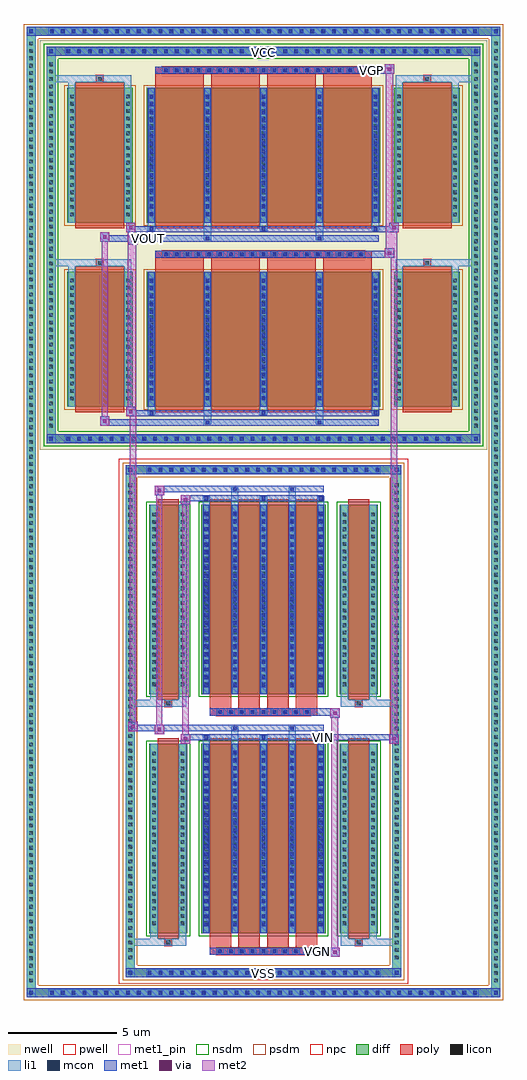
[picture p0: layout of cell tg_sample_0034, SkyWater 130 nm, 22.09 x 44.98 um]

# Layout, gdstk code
import gdstk
lib = gdstk.Library(unit=1e-6, precision=5e-09)
def R(c, l, rs):  # rectangles x0, y0, x1, y1
    for r in rs: c.add(gdstk.rectangle(r[:2], r[2:], *l))
def A(c, l, x, y, w, h, nx, ny, dx, dy):  # array of equal rectangles
    R(c, l, [(x+i*dx, y+j*dy, x+i*dx+w, y+j*dy+h) for i in range(nx) for j in range(ny)])
def P(c, l, *ps):  # polygons
    for p in ps: c.add(gdstk.Polygon(p, *l))
nwell = (64, 20)
pwell = (64, 44)
diff = (65, 20)
poly = (66, 20)
licon = (66, 44)
li1 = (67, 20)
mcon = (67, 44)
met1_pin = (68, 16)
met1 = (68, 20)
via = (68, 44)
met2 = (69, 20)
nsdm = (93, 44)
psdm = (94, 20)
npc = (95, 20)

tg_sample_0034 = lib.new_cell('tg_sample_0034')
R(tg_sample_0034, nwell, [(-10.305,12.505,10.305,31.395)])
R(tg_sample_0034, pwell, [(-6.66,-12.105,6.66,12.105)])
A(tg_sample_0034, diff, -9.955, -12.715, 0.41, 0.41, 40, 2, 0.5, 44.31)
A(tg_sample_0034, diff, -10.915, -12.15, 0.41, 0.41, 1, 128, 0, 0.34)
A(tg_sample_0034, diff, 10.505, -12.15, 0.41, 0.41, 1, 128, 0, 0.34)
A(tg_sample_0034, diff, -5.455, -11.795, 0.41, 0.41, 22, 2, 0.5, 23.18)
A(tg_sample_0034, diff, -6.35, -11.085, 0.41, 0.41, 1, 65, 0, 0.34)
A(tg_sample_0034, diff, 5.94, -11.085, 0.41, 0.41, 1, 65, 0, 0.34)
A(tg_sample_0034, diff, -9.205, 12.815, 0.41, 0.41, 37, 2, 0.5, 17.86)
A(tg_sample_0034, diff, -9.995, 13.415, 0.41, 0.41, 1, 50, 0, 0.34)
A(tg_sample_0034, diff, 9.585, 13.415, 0.41, 0.41, 1, 50, 0, 0.34)
R(tg_sample_0034, diff, [(-9.955,-12.715,9.955,-12.305), (-10.915,-12.15,-10.505,31.44), (10.505,-12.15,10.915,31.44), (-5.455,-11.795,5.455,-11.385), (-6.35,-11.085,-5.94,11.085), (5.94,-11.085,6.35,11.085), (-5.275,-9.77,-3.505,-1.03), (-2.865,-9.77,2.865,-1.03), (3.505,-9.77,5.275,-1.03), (-5.275,1.25,-3.505,9.99), (-2.865,1.25,2.865,9.99), (3.505,1.25,5.275,9.99), (-5.455,11.385,5.455,11.795), (-9.205,12.815,9.205,13.225), (-9.995,13.415,-9.585,30.485), (9.585,13.415,9.995,30.485), (-9.055,14.49,-6.025,20.71), (-5.385,14.49,5.385,20.71), (6.025,14.49,9.055,20.71), (-9.055,22.97,-6.025,29.19), (-5.385,22.97,5.385,29.19), (6.025,22.97,9.055,29.19), (-9.205,30.675,9.205,31.085), (-9.955,31.595,9.955,32.005)])
P(tg_sample_0034, diff, [(6.35,11.795),(-6.35,11.795),(-6.35,-11.385),(-5.94,-11.385),(-5.94,11.385),(5.94,11.385),(5.94,-11.385),(-5.94,-11.385),(-6.35,-11.385),(-6.35,-11.795),(6.35,-11.795)],
  [(10.915,32.005),(-10.915,32.005),(-10.915,-12.305),(-10.505,-12.305),(-10.505,31.595),(10.505,31.595),(10.505,-12.305),(-10.505,-12.305),(-10.915,-12.305),(-10.915,-12.715),(10.915,-12.715)],
  [(9.995,12.815),(-9.995,12.815),(-9.995,30.675),(-9.585,30.675),(-9.585,13.225),(9.585,13.225),(9.585,30.675),(-9.585,30.675),(-9.995,30.675),(-9.995,31.085),(9.995,31.085)])
A(tg_sample_0034, poly, -2.165, -10.76, 0.33, 0.33, 9, 2, 0.5, 11.02)
A(tg_sample_0034, poly, -2.475, -10.43, 0.99, 0.41, 4, 2, 1.32, 11.02)
A(tg_sample_0034, poly, -2.475, -10.02, 0.99, 9.24, 4, 2, 1.32, 11.02)
A(tg_sample_0034, poly, -4.995, 14.24, 2.25, 6.72, 4, 2, 2.58, 8.48)
A(tg_sample_0034, poly, -4.995, 20.96, 2.25, 0.4, 4, 2, 2.58, 8.48)
A(tg_sample_0034, poly, -4.665, 21.36, 0.33, 0.33, 19, 2, 0.5, 8.48)
R(tg_sample_0034, poly, [(-2.475,-10.76,2.475,-10.43), (-4.555,-10.35,-4.225,-10.02), (-4.555,-10.35,-4.225,-10.02), (4.225,-10.35,4.555,-10.02), (4.225,-10.35,4.555,-10.02), (-4.885,-10.02,-3.895,-0.78), (3.895,-10.02,4.885,-0.78), (-2.475,0.26,2.475,0.59), (-4.555,0.67,-4.225,1), (-4.555,0.67,-4.225,1), (4.225,0.67,4.555,1), (4.225,0.67,4.555,1), (-4.885,1,-3.895,10.24), (3.895,1,4.885,10.24), (-8.665,14.24,-6.415,20.96), (6.415,14.24,8.665,20.96), (-7.705,20.96,-7.375,21.29), (-7.705,20.96,-7.375,21.29), (7.375,20.96,7.705,21.29), (7.375,20.96,7.705,21.29), (-4.995,21.36,4.995,21.69), (-8.665,22.72,-6.415,29.44), (6.415,22.72,8.665,29.44), (-7.705,29.44,-7.375,29.77), (-7.705,29.44,-7.375,29.77), (7.375,29.44,7.705,29.77), (7.375,29.44,7.705,29.77), (-4.995,29.84,4.995,30.17)])
A(tg_sample_0034, licon, -9.835, -12.595, 0.17, 0.17, 40, 2, 0.5, 44.31)
A(tg_sample_0034, licon, -10.795, -12.03, 0.17, 0.17, 1, 128, 0, 0.34)
A(tg_sample_0034, licon, 10.625, -12.03, 0.17, 0.17, 1, 128, 0, 0.34)
A(tg_sample_0034, licon, -5.335, -11.675, 0.17, 0.17, 22, 2, 0.5, 23.18)
A(tg_sample_0034, licon, -6.23, -10.965, 0.17, 0.17, 1, 65, 0, 0.34)
A(tg_sample_0034, licon, 6.06, -10.965, 0.17, 0.17, 1, 65, 0, 0.34)
A(tg_sample_0034, licon, -2.085, -10.68, 0.17, 0.17, 9, 2, 0.5, 11.02)
A(tg_sample_0034, licon, -5.135, -9.395, 0.17, 0.17, 1, 24, 0, 0.34)
A(tg_sample_0034, licon, -3.815, -9.395, 0.17, 0.17, 1, 24, 0, 0.34)
A(tg_sample_0034, licon, -2.725, -9.395, 0.17, 0.17, 5, 24, 1.32, 0.34)
A(tg_sample_0034, licon, 3.645, -9.395, 0.17, 0.17, 1, 24, 0, 0.34)
A(tg_sample_0034, licon, 4.965, -9.395, 0.17, 0.17, 1, 24, 0, 0.34)
A(tg_sample_0034, licon, -5.135, 1.625, 0.17, 0.17, 1, 24, 0, 0.34)
A(tg_sample_0034, licon, -3.815, 1.625, 0.17, 0.17, 1, 24, 0, 0.34)
A(tg_sample_0034, licon, -2.725, 1.625, 0.17, 0.17, 5, 24, 1.32, 0.34)
A(tg_sample_0034, licon, 3.645, 1.625, 0.17, 0.17, 1, 24, 0, 0.34)
A(tg_sample_0034, licon, 4.965, 1.625, 0.17, 0.17, 1, 24, 0, 0.34)
A(tg_sample_0034, licon, -9.085, 12.935, 0.17, 0.17, 37, 2, 0.5, 17.86)
A(tg_sample_0034, licon, -9.875, 13.535, 0.17, 0.17, 1, 50, 0, 0.34)
A(tg_sample_0034, licon, 9.705, 13.535, 0.17, 0.17, 1, 50, 0, 0.34)
A(tg_sample_0034, licon, -8.915, 14.795, 0.17, 0.17, 1, 17, 0, 0.34)
A(tg_sample_0034, licon, -6.335, 14.795, 0.17, 0.17, 1, 17, 0, 0.34)
A(tg_sample_0034, licon, -5.245, 14.795, 0.17, 0.17, 5, 17, 2.58, 0.34)
A(tg_sample_0034, licon, 6.165, 14.795, 0.17, 0.17, 1, 17, 0, 0.34)
A(tg_sample_0034, licon, 8.745, 14.795, 0.17, 0.17, 1, 17, 0, 0.34)
A(tg_sample_0034, licon, -4.585, 21.44, 0.17, 0.17, 19, 2, 0.5, 8.48)
A(tg_sample_0034, licon, -8.915, 23.275, 0.17, 0.17, 1, 17, 0, 0.34)
A(tg_sample_0034, licon, -6.335, 23.275, 0.17, 0.17, 1, 17, 0, 0.34)
A(tg_sample_0034, licon, -5.245, 23.275, 0.17, 0.17, 5, 17, 2.58, 0.34)
A(tg_sample_0034, licon, 6.165, 23.275, 0.17, 0.17, 1, 17, 0, 0.34)
A(tg_sample_0034, licon, 8.745, 23.275, 0.17, 0.17, 1, 17, 0, 0.34)
R(tg_sample_0034, licon, [(-4.475,-10.27,-4.305,-10.1), (4.305,-10.27,4.475,-10.1), (-4.475,0.75,-4.305,0.92), (4.305,0.75,4.475,0.92), (-7.625,21.04,-7.455,21.21), (7.455,21.04,7.625,21.21), (-7.625,29.52,-7.455,29.69), (7.455,29.52,7.625,29.69)])
A(tg_sample_0034, li1, -9.915, -12.675, 0.33, 0.33, 40, 2, 0.5, 44.31)
A(tg_sample_0034, li1, -10.875, -12.11, 0.33, 0.33, 1, 128, 0, 0.34)
A(tg_sample_0034, li1, 10.545, -12.11, 0.33, 0.33, 1, 128, 0, 0.34)
A(tg_sample_0034, li1, -5.415, -11.755, 0.33, 0.33, 22, 2, 0.5, 23.18)
A(tg_sample_0034, li1, -6.31, -11.045, 0.33, 0.33, 1, 65, 0, 0.34)
A(tg_sample_0034, li1, 5.98, -11.045, 0.33, 0.33, 1, 65, 0, 0.34)
A(tg_sample_0034, li1, -2.165, -10.76, 0.33, 0.33, 9, 2, 0.5, 11.02)
A(tg_sample_0034, li1, -2.805, -9.77, 0.33, 8.74, 5, 2, 1.32, 11.02)
A(tg_sample_0034, li1, -5.215, -9.475, 0.33, 0.33, 1, 24, 0, 0.34)
A(tg_sample_0034, li1, -3.895, -9.475, 0.33, 0.33, 1, 24, 0, 0.34)
A(tg_sample_0034, li1, -2.805, -9.475, 0.33, 0.33, 5, 24, 1.32, 0.34)
A(tg_sample_0034, li1, 3.565, -9.475, 0.33, 0.33, 1, 24, 0, 0.34)
A(tg_sample_0034, li1, 4.885, -9.475, 0.33, 0.33, 1, 24, 0, 0.34)
A(tg_sample_0034, li1, -2.725, -9.445, 0.17, 0.17, 5, 23, 1.32, 0.36)
A(tg_sample_0034, li1, -2.725, -9.445, 0.17, 8.09, 5, 2, 1.32, 11.02)
A(tg_sample_0034, li1, -2.805, -1.03, 0.33, 0.375, 3, 2, 2.64, 11.02)
A(tg_sample_0034, li1, -2.725, -0.825, 0.17, 0.17, 3, 2, 2.64, 11.02)
A(tg_sample_0034, li1, -5.215, 1.545, 0.33, 0.33, 1, 24, 0, 0.34)
A(tg_sample_0034, li1, -3.895, 1.545, 0.33, 0.33, 1, 24, 0, 0.34)
A(tg_sample_0034, li1, -2.805, 1.545, 0.33, 0.33, 5, 24, 1.32, 0.34)
A(tg_sample_0034, li1, 3.565, 1.545, 0.33, 0.33, 1, 24, 0, 0.34)
A(tg_sample_0034, li1, 4.885, 1.545, 0.33, 0.33, 1, 24, 0, 0.34)
A(tg_sample_0034, li1, -2.725, 1.575, 0.17, 0.17, 5, 23, 1.32, 0.36)
A(tg_sample_0034, li1, -9.165, 12.855, 0.33, 0.33, 37, 2, 0.5, 17.86)
A(tg_sample_0034, li1, -9.955, 13.455, 0.33, 0.33, 1, 50, 0, 0.34)
A(tg_sample_0034, li1, 9.625, 13.455, 0.33, 0.33, 1, 50, 0, 0.34)
A(tg_sample_0034, li1, -5.325, 14.115, 0.33, 0.375, 3, 2, 5.16, 8.48)
A(tg_sample_0034, li1, -5.245, 14.115, 0.17, 0.17, 3, 2, 5.16, 8.48)
A(tg_sample_0034, li1, -5.325, 14.49, 0.33, 6.22, 5, 2, 2.58, 8.48)
A(tg_sample_0034, li1, -8.995, 14.715, 0.33, 0.33, 1, 17, 0, 0.34)
A(tg_sample_0034, li1, -6.415, 14.715, 0.33, 0.33, 1, 17, 0, 0.34)
A(tg_sample_0034, li1, -5.325, 14.715, 0.33, 0.33, 5, 17, 2.58, 0.34)
A(tg_sample_0034, li1, 6.085, 14.715, 0.33, 0.33, 1, 17, 0, 0.34)
A(tg_sample_0034, li1, 8.665, 14.715, 0.33, 0.33, 1, 17, 0, 0.34)
A(tg_sample_0034, li1, -5.245, 14.815, 0.17, 0.17, 5, 16, 2.58, 0.36)
A(tg_sample_0034, li1, -5.245, 14.815, 0.17, 5.57, 5, 2, 2.58, 8.48)
A(tg_sample_0034, li1, -4.665, 21.36, 0.33, 0.33, 19, 2, 0.5, 8.48)
A(tg_sample_0034, li1, -8.995, 23.195, 0.33, 0.33, 1, 17, 0, 0.34)
A(tg_sample_0034, li1, -6.415, 23.195, 0.33, 0.33, 1, 17, 0, 0.34)
A(tg_sample_0034, li1, -5.325, 23.195, 0.33, 0.33, 5, 17, 2.58, 0.34)
A(tg_sample_0034, li1, 6.085, 23.195, 0.33, 0.33, 1, 17, 0, 0.34)
A(tg_sample_0034, li1, 8.665, 23.195, 0.33, 0.33, 1, 17, 0, 0.34)
A(tg_sample_0034, li1, -5.245, 23.295, 0.17, 0.17, 5, 16, 2.58, 0.36)
R(tg_sample_0034, li1, [(-10.915,-12.715,-10.505,-12.305), (10.505,-12.715,10.915,-12.305), (-9.915,-12.675,9.915,-12.345), (-10.795,-12.595,-10.625,-12.425), (-10.795,-12.595,-10.625,-12.425), (10.625,-12.595,10.795,-12.425), (10.625,-12.595,10.795,-12.425), (-10.915,-12.305,-10.505,31.595), (10.505,-12.305,10.915,31.595), (-6.35,-11.795,-5.94,-11.385), (5.94,-11.795,6.35,-11.385), (-5.415,-11.755,5.415,-11.425), (-6.23,-11.675,-6.06,-11.505), (-6.23,-11.675,-6.06,-11.505), (6.06,-11.675,6.23,-11.505), (6.06,-11.675,6.23,-11.505), (-6.35,-11.385,-5.94,11.385), (5.94,-11.385,6.35,11.385), (-6.35,-10.35,-4.555,-10.02), (-5.215,-10.35,-4.555,-10.02), (-5.215,-10.35,-4.885,-9.77), (-4.555,-10.35,-4.225,-10.02), (-4.225,-10.35,-3.565,-10.02), (-3.895,-10.35,-3.565,-9.77), (3.565,-10.35,4.225,-10.02), (3.565,-10.35,3.895,-9.77), (4.225,-10.35,4.555,-10.02), (4.225,-10.35,6.35,-10.02), (4.555,-10.35,5.215,-10.02), (4.885,-10.35,5.215,-9.77), (-5.215,-9.77,-4.885,-1.03), (-3.895,-9.77,-3.565,-1.03), (3.565,-9.77,3.895,-1.03), (4.885,-9.77,5.215,-1.03), (-1.485,-1.03,-1.155,-0.225), (1.155,-1.03,1.485,-0.225), (-1.405,-0.395,-1.235,-0.225), (1.235,-0.395,1.405,-0.225), (-6.35,0.67,-4.555,1), (-5.215,0.67,-4.555,1), (-5.215,0.67,-4.885,1.25), (-4.555,0.67,-4.225,1), (-4.225,0.67,-3.565,1), (-3.895,0.67,-3.565,1.25), (3.565,0.67,4.225,1), (3.565,0.67,3.895,1.25), (4.225,0.67,4.555,1), (4.225,0.67,6.35,1), (4.555,0.67,5.215,1), (4.885,0.67,5.215,1.25), (-5.215,1.25,-4.885,9.99), (-3.895,1.25,-3.565,9.99), (3.565,1.25,3.895,9.99), (4.885,1.25,5.215,9.99), (-1.485,9.99,-1.155,10.795), (1.155,9.99,1.485,10.795), (-1.405,10.625,-1.235,10.795), (1.235,10.625,1.405,10.795), (-6.35,11.385,-5.94,11.795), (5.94,11.385,6.35,11.795), (-5.415,11.425,5.415,11.755), (-6.23,11.505,-6.06,11.675), (-6.23,11.505,-6.06,11.675), (6.06,11.505,6.23,11.675), (6.06,11.505,6.23,11.675), (-9.995,12.815,-9.585,13.225), (9.585,12.815,9.995,13.225), (-9.165,12.855,9.165,13.185), (-9.875,12.935,-9.705,13.105), (-9.875,12.935,-9.705,13.105), (9.705,12.935,9.875,13.105), (9.705,12.935,9.875,13.105), (-9.995,13.225,-9.585,30.675), (9.585,13.225,9.995,30.675), (-2.745,13.685,-2.415,14.49), (-2.665,13.685,-2.495,13.855), (2.415,13.685,2.745,14.49), (2.495,13.685,2.665,13.855), (-8.995,14.49,-8.665,20.71), (-6.415,14.49,-6.085,20.71), (6.085,14.49,6.415,20.71), (8.665,14.49,8.995,20.71), (-8.995,20.71,-8.665,21.29), (-6.415,20.71,-6.085,21.29), (6.085,20.71,6.415,21.29), (8.665,20.71,8.995,21.29), (-9.995,20.96,-7.705,21.29), (-8.995,20.96,-7.705,21.29), (-7.705,20.96,-7.375,21.29), (-7.375,20.96,-6.085,21.29), (6.085,20.96,7.375,21.29), (7.375,20.96,7.705,21.29), (7.375,20.96,9.995,21.29), (7.705,20.96,8.995,21.29), (-2.745,22.165,-2.415,22.97), (-2.665,22.165,-2.495,22.335), (2.415,22.165,2.745,22.97), (2.495,22.165,2.665,22.335), (-8.995,22.97,-8.665,29.19), (-6.415,22.97,-6.085,29.19), (6.085,22.97,6.415,29.19), (8.665,22.97,8.995,29.19), (-8.995,29.19,-8.665,29.77), (-6.415,29.19,-6.085,29.77), (6.085,29.19,6.415,29.77), (8.665,29.19,8.995,29.77), (-9.995,29.44,-7.705,29.77), (-8.995,29.44,-7.705,29.77), (-7.705,29.44,-7.375,29.77), (-7.375,29.44,-6.085,29.77), (6.085,29.44,7.375,29.77), (7.375,29.44,7.705,29.77), (7.375,29.44,9.995,29.77), (7.705,29.44,8.995,29.77), (-9.995,30.675,-9.585,31.085), (9.585,30.675,9.995,31.085), (-9.165,30.715,9.165,31.045), (-9.875,30.795,-9.705,30.965), (-9.875,30.795,-9.705,30.965), (9.705,30.795,9.875,30.965), (9.705,30.795,9.875,30.965), (-10.915,31.595,-10.505,32.005), (10.505,31.595,10.915,32.005), (-9.915,31.635,9.915,31.965), (-10.795,31.715,-10.625,31.885), (-10.795,31.715,-10.625,31.885), (10.625,31.715,10.795,31.885), (10.625,31.715,10.795,31.885)])
A(tg_sample_0034, mcon, -9.835, -12.595, 0.17, 0.17, 40, 2, 0.5, 44.31)
A(tg_sample_0034, mcon, -5.335, -11.675, 0.17, 0.17, 22, 2, 0.5, 23.18)
A(tg_sample_0034, mcon, -2.085, -10.68, 0.17, 0.17, 9, 2, 0.5, 11.02)
A(tg_sample_0034, mcon, -2.725, -9.445, 0.17, 0.17, 5, 23, 1.32, 0.36)
A(tg_sample_0034, mcon, -2.725, -0.825, 0.17, 0.17, 3, 2, 2.64, 11.02)
A(tg_sample_0034, mcon, -2.725, 1.575, 0.17, 0.17, 5, 23, 1.32, 0.36)
A(tg_sample_0034, mcon, -9.085, 12.935, 0.17, 0.17, 37, 2, 0.5, 17.86)
A(tg_sample_0034, mcon, -5.245, 14.115, 0.17, 0.17, 3, 2, 5.16, 8.48)
A(tg_sample_0034, mcon, -5.245, 14.815, 0.17, 0.17, 5, 16, 2.58, 0.36)
A(tg_sample_0034, mcon, -4.585, 21.44, 0.17, 0.17, 19, 2, 0.5, 8.48)
A(tg_sample_0034, mcon, -5.245, 23.295, 0.17, 0.17, 5, 16, 2.58, 0.36)
R(tg_sample_0034, mcon, [(-10.795,-12.595,-10.625,-12.425), (10.625,-12.595,10.795,-12.425), (-6.23,-11.675,-6.06,-11.505), (6.06,-11.675,6.23,-11.505), (-1.405,-0.395,-1.235,-0.225), (1.235,-0.395,1.405,-0.225), (-1.405,10.625,-1.235,10.795), (1.235,10.625,1.405,10.795), (-6.23,11.505,-6.06,11.675), (6.06,11.505,6.23,11.675), (-9.875,12.935,-9.705,13.105), (9.705,12.935,9.875,13.105), (-2.665,13.685,-2.495,13.855), (2.495,13.685,2.665,13.855), (-2.665,22.165,-2.495,22.335), (2.495,22.165,2.665,22.335), (-9.875,30.795,-9.705,30.965), (9.705,30.795,9.875,30.965), (-10.795,31.715,-10.625,31.885), (10.625,31.715,10.795,31.885)])
R(tg_sample_0034, met1_pin, [(-0.25,-11.885,0.25,-11.385), (2.34,-10.76,2.61,-10.49), (2.65,-0.885,2.92,-0.615), (-5.44,22.105,-5.17,22.375), (4.86,29.84,5.13,30.11), (-0.25,30.585,0.25,31.085)])
A(tg_sample_0034, met1, -9.895, -12.655, 0.29, 0.29, 40, 2, 0.5, 44.31)
A(tg_sample_0034, met1, -5.395, -11.735, 0.29, 0.29, 22, 2, 0.5, 23.18)
A(tg_sample_0034, met1, -2.145, -10.74, 0.29, 0.29, 9, 2, 0.5, 11.02)
A(tg_sample_0034, met1, -2.785, -9.77, 0.29, 8.74, 5, 2, 1.32, 11.02)
A(tg_sample_0034, met1, -2.785, -9.505, 0.29, 0.29, 5, 23, 1.32, 0.36)
A(tg_sample_0034, met1, -2.785, -0.885, 0.29, 0.29, 3, 2, 2.64, 11.02)
A(tg_sample_0034, met1, -2.785, 1.515, 0.29, 0.29, 5, 23, 1.32, 0.36)
A(tg_sample_0034, met1, -9.145, 12.875, 0.29, 0.29, 37, 2, 0.5, 17.86)
A(tg_sample_0034, met1, -5.305, 14.055, 0.29, 0.29, 3, 2, 5.16, 8.48)
A(tg_sample_0034, met1, -5.305, 14.49, 0.29, 6.22, 5, 2, 2.58, 8.48)
A(tg_sample_0034, met1, -5.305, 14.755, 0.29, 0.29, 5, 16, 2.58, 0.36)
A(tg_sample_0034, met1, -4.645, 21.38, 0.29, 0.29, 19, 2, 0.5, 8.48)
A(tg_sample_0034, met1, -5.305, 23.235, 0.29, 0.29, 5, 16, 2.58, 0.36)
R(tg_sample_0034, met1, [(-10.915,-12.715,-10.505,-12.305), (-10.915,-12.715,-10.505,-12.305), (-10.505,-12.715,10.505,-12.305), (10.505,-12.715,10.915,-12.305), (10.505,-12.715,10.915,-12.305), (-10.855,-12.655,-10.565,-12.365), (10.565,-12.655,10.855,-12.365), (-6.35,-11.795,-5.94,-11.385), (-6.35,-11.795,-5.94,-11.385), (-5.94,-11.795,5.94,-11.385), (5.94,-11.795,6.35,-11.385), (5.94,-11.795,6.35,-11.385), (-6.29,-11.735,-6,-11.445), (6,-11.735,6.29,-11.445), (3.075,-10.86,3.505,-10.43), (-2.475,-10.76,2.475,-10.43), (2.475,-10.76,3.505,-10.43), (-3.815,-1.025,-3.385,-0.595), (5.805,-1.025,6.235,-0.595), (-3.815,-0.885,-2.785,-0.595), (-2.785,-0.885,2.785,-0.595), (2.785,-0.885,6.235,-0.595), (-5.015,-0.595,-4.585,-0.165), (-6.235,-0.455,-5.805,-0.025), (-6.235,-0.455,-2.785,-0.165), (-5.015,-0.455,-2.785,-0.165), (-2.785,-0.455,2.785,-0.165), (-1.465,-0.455,-1.175,-0.165), (1.175,-0.455,1.465,-0.165), (3.075,0.16,3.505,0.59), (-2.475,0.26,2.475,0.59), (2.475,0.26,3.505,0.59), (-3.815,9.995,-3.385,10.425), (-3.815,10.135,-2.785,10.425), (-2.785,10.135,2.785,10.425), (-5.015,10.425,-4.585,10.855), (-5.015,10.565,-2.785,10.855), (-2.785,10.565,2.785,10.855), (-1.465,10.565,-1.175,10.855), (1.175,10.565,1.465,10.855), (-6.35,11.385,-5.94,11.795), (-6.35,11.385,-5.94,11.795), (-5.94,11.385,5.94,11.795), (5.94,11.385,6.35,11.795), (5.94,11.385,6.35,11.795), (-6.29,11.445,-6,11.735), (6,11.445,6.29,11.735), (-9.995,12.815,-9.585,13.225), (-9.995,12.815,-9.585,13.225), (-9.585,12.815,9.585,13.225), (9.585,12.815,9.995,13.225), (9.585,12.815,9.995,13.225), (-9.935,12.875,-9.645,13.165), (9.645,12.875,9.935,13.165), (-7.535,13.625,-7.105,14.055), (-7.535,13.625,-5.305,13.915), (-5.305,13.625,5.305,13.915), (-2.725,13.625,-2.435,13.915), (2.435,13.625,2.725,13.915), (-6.335,14.055,-5.905,14.485), (-6.335,14.055,-5.305,14.345), (-5.305,14.055,5.305,14.345), (-4.995,21.36,4.995,21.69), (4.995,21.36,6.025,21.69), (5.595,21.36,6.025,21.79), (-6.235,21.965,-5.805,22.395), (-7.535,22.105,-7.105,22.535), (-7.535,22.105,-5.305,22.395), (-6.235,22.105,-5.305,22.395), (-5.305,22.105,5.305,22.395), (-2.725,22.105,-2.435,22.395), (2.435,22.105,2.725,22.395), (-6.335,22.535,-5.905,22.965), (-6.335,22.535,-5.305,22.825), (-5.305,22.535,5.305,22.825), (5.305,22.535,6.235,22.825), (5.805,22.535,6.235,22.965), (-4.995,29.84,4.995,30.17), (4.995,29.84,6.025,30.17), (5.595,29.84,6.025,30.27), (-9.995,30.675,-9.585,31.085), (-9.995,30.675,-9.585,31.085), (-9.585,30.675,9.585,31.085), (9.585,30.675,9.995,31.085), (9.585,30.675,9.995,31.085), (-9.935,30.735,-9.645,31.025), (9.645,30.735,9.935,31.025), (-10.915,31.595,-10.505,32.005), (-10.915,31.595,-10.505,32.005), (-10.505,31.595,10.505,32.005), (10.505,31.595,10.915,32.005), (10.505,31.595,10.915,32.005), (-10.855,31.655,-10.565,31.945), (10.565,31.655,10.855,31.945)])
R(tg_sample_0034, via, [(3.215,-10.72,3.365,-10.57), (-3.675,-0.885,-3.525,-0.735), (5.945,-0.885,6.095,-0.735), (-4.875,-0.455,-4.725,-0.305), (-6.095,-0.315,-5.945,-0.165), (3.215,0.3,3.365,0.45), (-3.675,10.135,-3.525,10.285), (-4.875,10.565,-4.725,10.715), (-7.395,13.765,-7.245,13.915), (-6.195,14.195,-6.045,14.345), (5.735,21.5,5.885,21.65), (-6.095,22.105,-5.945,22.255), (-7.395,22.245,-7.245,22.395), (-6.195,22.675,-6.045,22.825), (5.945,22.675,6.095,22.825), (5.735,29.98,5.885,30.13)])
R(tg_sample_0034, met2, [(3.075,-10.86,3.505,-10.43), (3.125,-10.86,3.455,0.59), (3.455,-10.86,3.505,-10.43), (3.125,-10.81,3.455,-10.48), (-3.815,-1.025,-3.385,-0.595), (-3.745,-1.025,-3.455,10.425), (-3.455,-1.025,-3.385,-0.595), (5.805,-1.025,6.235,-0.595), (5.875,-1.025,6.165,22.965), (6.165,-1.025,6.235,-0.595), (-3.765,-0.975,-3.435,-0.645), (5.855,-0.975,6.185,-0.645), (-5.015,-0.595,-4.585,-0.165), (-4.945,-0.595,-4.655,10.855), (-4.655,-0.595,-4.585,-0.165), (-4.965,-0.545,-4.635,-0.215), (-6.235,-0.455,-5.805,-0.025), (-6.165,-0.455,-5.875,22.395), (-5.875,-0.455,-5.805,-0.025), (-6.185,-0.405,-5.855,-0.075), (3.075,0.16,3.505,0.59), (3.455,0.16,3.505,0.59), (3.125,0.21,3.455,0.54), (-3.815,9.995,-3.385,10.425), (-3.455,9.995,-3.385,10.425), (-3.765,10.045,-3.435,10.375), (-5.015,10.425,-4.585,10.855), (-4.655,10.425,-4.585,10.855), (-4.965,10.475,-4.635,10.805), (-7.535,13.625,-7.105,14.055), (-7.465,13.625,-7.175,22.535), (-7.175,13.625,-7.105,14.055), (-7.485,13.675,-7.155,14.005), (-6.335,14.055,-5.905,14.485), (-6.265,14.055,-5.975,22.965), (-5.975,14.055,-5.905,14.485), (-6.285,14.105,-5.955,14.435), (5.595,21.36,6.025,21.79), (5.645,21.36,5.975,30.27), (5.975,21.36,6.025,21.79), (5.645,21.41,5.975,21.74), (-6.235,21.965,-5.805,22.395), (-5.875,21.965,-5.805,22.395), (-6.185,22.015,-5.855,22.345), (-7.535,22.105,-7.105,22.535), (-7.175,22.105,-7.105,22.535), (-7.485,22.155,-7.155,22.485), (-6.335,22.535,-5.905,22.965), (-5.975,22.535,-5.905,22.965), (5.805,22.535,6.235,22.965), (6.165,22.535,6.235,22.965), (-6.285,22.585,-5.955,22.915), (5.855,22.585,6.185,22.915), (5.595,29.84,6.025,30.27), (5.975,29.84,6.025,30.27), (5.645,29.89,5.975,30.22)])
R(tg_sample_0034, nsdm, [(-5.405,-9.9,-3.375,-0.9), (-2.995,-9.9,2.995,-0.9), (3.375,-9.9,5.405,-0.9), (-5.405,1.12,-3.375,10.12), (-2.995,1.12,2.995,10.12), (3.375,1.12,5.405,10.12)])
P(tg_sample_0034, nsdm, [(10.125,12.685),(-10.125,12.685),(-10.125,30.545),(-9.455,30.545),(-9.455,13.355),(9.455,13.355),(9.455,30.545),(-9.455,30.545),(-10.125,30.545),(-10.125,31.215),(10.125,31.215)])
R(tg_sample_0034, psdm, [(-9.185,14.36,-5.895,20.84), (-5.515,14.36,5.515,20.84), (5.895,14.36,9.185,20.84), (-9.185,22.84,-5.895,29.32), (-5.515,22.84,5.515,29.32), (5.895,22.84,9.185,29.32)])
P(tg_sample_0034, psdm, [(6.48,11.925),(-6.48,11.925),(-6.48,-11.255),(-5.81,-11.255),(-5.81,11.255),(5.81,11.255),(5.81,-11.255),(-5.81,-11.255),(-6.48,-11.255),(-6.48,-11.925),(6.48,-11.925)],
  [(11.045,32.135),(-11.045,32.135),(-11.045,-12.175),(-10.375,-12.175),(-10.375,31.465),(10.375,31.465),(10.375,-12.175),(-10.375,-12.175),(-11.045,-12.175),(-11.045,-12.845),(11.045,-12.845)])
A(tg_sample_0034, npc, -2.185, -10.78, 0.37, 0.37, 9, 2, 0.5, 11.02)
A(tg_sample_0034, npc, -4.685, 21.34, 0.37, 0.37, 19, 2, 0.5, 8.48)
R(tg_sample_0034, npc, [(-2.185,-10.78,-1.315,-10.41), (-2.185,-10.78,-1.315,-10.41), (-1.685,-10.78,-0.815,-10.41), (-1.685,-10.78,-0.815,-10.41), (-1.185,-10.78,-0.315,-10.41), (-1.185,-10.78,-0.315,-10.41), (-0.685,-10.78,0.185,-10.41), (-0.685,-10.78,0.185,-10.41), (-0.185,-10.78,0.685,-10.41), (-0.185,-10.78,0.685,-10.41), (0.315,-10.78,1.185,-10.41), (0.315,-10.78,1.185,-10.41), (0.815,-10.78,1.685,-10.41), (0.815,-10.78,1.685,-10.41), (1.315,-10.78,2.185,-10.41), (1.315,-10.78,2.185,-10.41), (-4.575,-10.37,-4.205,-10), (4.205,-10.37,4.575,-10), (-2.185,0.24,-1.315,0.61), (-2.185,0.24,-1.315,0.61), (-1.685,0.24,-0.815,0.61), (-1.685,0.24,-0.815,0.61), (-1.185,0.24,-0.315,0.61), (-1.185,0.24,-0.315,0.61), (-0.685,0.24,0.185,0.61), (-0.685,0.24,0.185,0.61), (-0.185,0.24,0.685,0.61), (-0.185,0.24,0.685,0.61), (0.315,0.24,1.185,0.61), (0.315,0.24,1.185,0.61), (0.815,0.24,1.685,0.61), (0.815,0.24,1.685,0.61), (1.315,0.24,2.185,0.61), (1.315,0.24,2.185,0.61), (-4.575,0.65,-4.205,1.02), (4.205,0.65,4.575,1.02), (-7.725,20.94,-7.355,21.31), (7.355,20.94,7.725,21.31), (-4.685,21.34,-3.815,21.71), (-4.685,21.34,-3.815,21.71), (-4.185,21.34,-3.315,21.71), (-4.185,21.34,-3.315,21.71), (-3.685,21.34,-2.815,21.71), (-3.685,21.34,-2.815,21.71), (-3.185,21.34,-2.315,21.71), (-3.185,21.34,-2.315,21.71), (-2.685,21.34,-1.815,21.71), (-2.685,21.34,-1.815,21.71), (-2.185,21.34,-1.315,21.71), (-2.185,21.34,-1.315,21.71), (-1.685,21.34,-0.815,21.71), (-1.685,21.34,-0.815,21.71), (-1.185,21.34,-0.315,21.71), (-1.185,21.34,-0.315,21.71), (-0.685,21.34,0.185,21.71), (-0.685,21.34,0.185,21.71), (-0.185,21.34,0.685,21.71), (-0.185,21.34,0.685,21.71), (0.315,21.34,1.185,21.71), (0.315,21.34,1.185,21.71), (0.815,21.34,1.685,21.71), (0.815,21.34,1.685,21.71), (1.315,21.34,2.185,21.71), (1.315,21.34,2.185,21.71), (1.815,21.34,2.685,21.71), (1.815,21.34,2.685,21.71), (2.315,21.34,3.185,21.71), (2.315,21.34,3.185,21.71), (2.815,21.34,3.685,21.71), (2.815,21.34,3.685,21.71), (3.315,21.34,4.185,21.71), (3.315,21.34,4.185,21.71), (3.815,21.34,4.685,21.71), (3.815,21.34,4.685,21.71), (-7.725,29.42,-7.355,29.79), (7.355,29.42,7.725,29.79), (-4.685,29.82,-3.815,30.19), (-4.685,29.82,-3.815,30.19), (-4.185,29.82,-3.315,30.19), (-4.185,29.82,-3.315,30.19), (-3.685,29.82,-2.815,30.19), (-3.685,29.82,-2.815,30.19), (-3.185,29.82,-2.315,30.19), (-3.185,29.82,-2.315,30.19), (-2.685,29.82,-1.815,30.19), (-2.685,29.82,-1.815,30.19), (-2.185,29.82,-1.315,30.19), (-2.185,29.82,-1.315,30.19), (-1.685,29.82,-0.815,30.19), (-1.685,29.82,-0.815,30.19), (-1.185,29.82,-0.315,30.19), (-1.185,29.82,-0.315,30.19), (-0.685,29.82,0.185,30.19), (-0.685,29.82,0.185,30.19), (-0.185,29.82,0.685,30.19), (-0.185,29.82,0.685,30.19), (0.315,29.82,1.185,30.19), (0.315,29.82,1.185,30.19), (0.815,29.82,1.685,30.19), (0.815,29.82,1.685,30.19), (1.315,29.82,2.185,30.19), (1.315,29.82,2.185,30.19), (1.815,29.82,2.685,30.19), (1.815,29.82,2.685,30.19), (2.315,29.82,3.185,30.19), (2.315,29.82,3.185,30.19), (2.815,29.82,3.685,30.19), (2.815,29.82,3.685,30.19), (3.315,29.82,4.185,30.19), (3.315,29.82,4.185,30.19), (3.815,29.82,4.685,30.19), (3.815,29.82,4.685,30.19)])
tg_sample_0034.add(gdstk.Label('VIN', (2.785,-0.75), layer=68, texttype=5))
tg_sample_0034.add(gdstk.Label('VGN', (2.475,-10.625), layer=68, texttype=5))
tg_sample_0034.add(gdstk.Label('VGP', (4.995,29.975), layer=68, texttype=5))
tg_sample_0034.add(gdstk.Label('VSS', (0,-11.635), layer=68, texttype=5))
tg_sample_0034.add(gdstk.Label('VCC', (0,30.835), layer=68, texttype=5))
tg_sample_0034.add(gdstk.Label('VOUT', (-5.305,22.24), layer=68, texttype=5))

lib.write_gds('tg_sample_0034.gds')
